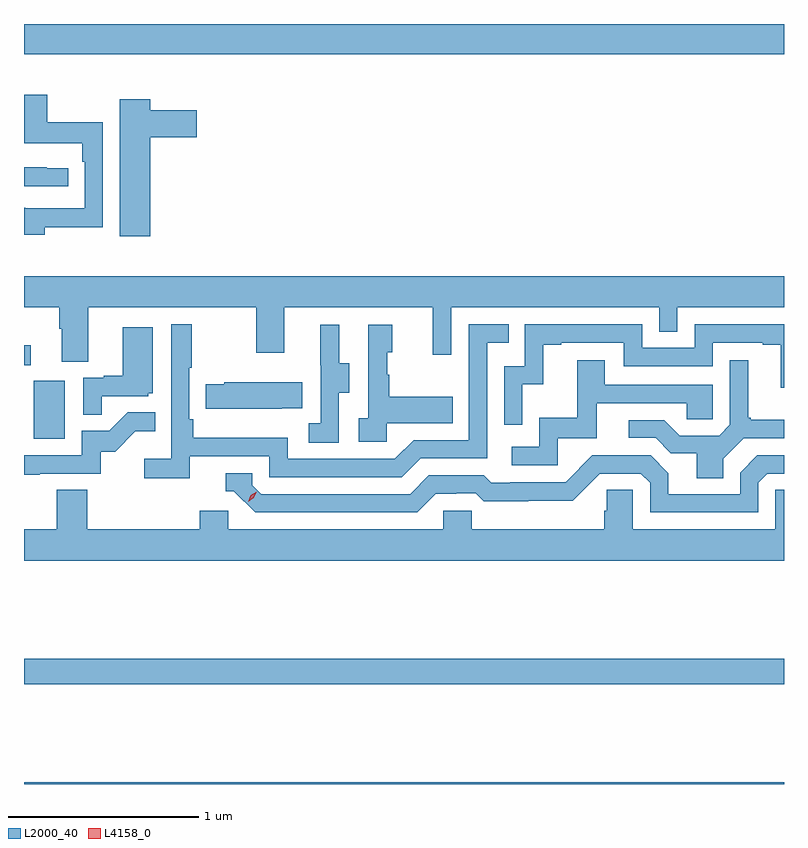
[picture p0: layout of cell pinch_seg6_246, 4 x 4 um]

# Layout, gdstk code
import gdstk
lib = gdstk.Library(unit=1e-6, precision=1e-09)
def R(c, l, rs):  # rectangles x0, y0, x1, y1
    for r in rs: c.add(gdstk.rectangle(r[:2], r[2:], *l))
def P(c, l, *ps):  # polygons
    for p in ps: c.add(gdstk.Polygon(p, *l))
L2000_40 = (2000, 40)
L4158_0 = (4158, 0)

pinch_seg6_246 = lib.new_cell('pinch_seg6_246')
R(pinch_seg6_246, L2000_40, [(1124.531,915.524,1128.531,915.532), (1124.531,916.048,1128.531,916.184), (1124.582,917.34,1124.746,917.647), (1124.531,917.727,1124.566,917.833), (1124.531,919.364,1128.531,919.524)])
P(pinch_seg6_246, L2000_40, [(1124.641,918.454),(1124.946,918.454),(1124.946,919.006),(1124.653,919.006),(1124.653,919.152),(1124.531,919.152),(1124.531,919.051),(1124.532,919.051),(1124.532,918.896),(1124.837,918.896),(1124.837,918.8),(1124.85,918.8),(1124.85,918.555),(1124.537,918.555),(1124.537,918.556),(1124.531,918.556),(1124.531,918.416),(1124.641,918.416)],
  [(1125.196,918.929),(1125.439,918.929),(1125.439,919.071),(1125.196,919.071),(1125.196,919.129),(1125.035,919.129),(1125.035,918.408),(1125.196,918.408)],
  [(1124.764,918.765),(1124.651,918.765),(1124.651,918.77),(1124.531,918.77),(1124.531,918.669),(1124.764,918.669)],
  [(1124.869,918.032),(1125.754,918.032),(1125.754,917.793),(1125.901,917.793),(1125.901,918.032),(1126.682,918.032),(1126.682,917.784),(1126.779,917.784),(1126.779,918.032),(1127.874,918.032),(1127.874,917.905),(1127.97,917.905),(1127.97,918.032),(1128.531,918.032),(1128.531,918.196),(1124.531,918.196),(1124.531,918.032),(1124.717,918.032),(1124.717,917.92),(1124.729,917.92),(1124.729,917.746),(1124.869,917.746)],
  [(1125.404,917.25),(1125.822,917.25),(1125.822,917.139),(1126.519,917.139),(1126.618,917.238),(1126.968,917.238),(1126.968,917.847),(1127.081,917.847),(1127.081,917.943),(1126.872,917.943),(1126.872,917.334),(1126.581,917.334),(1126.482,917.235),(1125.918,917.235),(1125.918,917.347),(1125.422,917.347),(1125.422,917.443),(1125.402,917.443),(1125.402,917.716),(1125.415,917.716),(1125.415,917.944),(1125.306,917.944),(1125.306,917.236),(1125.165,917.236),(1125.165,917.134),(1125.404,917.134)],
  [(1127.154,917.627),(1127.264,917.627),(1127.264,917.835),(1127.359,917.835),(1127.359,917.847),(1127.688,917.847),(1127.688,917.724),(1128.156,917.724),(1128.156,917.847),(1128.419,917.847),(1128.419,917.835),(1128.515,917.835),(1128.515,917.609),(1128.531,917.609),(1128.531,917.943),(1128.06,917.943),(1128.06,917.82),(1127.784,917.82),(1127.784,917.943),(1127.166,917.943),(1127.166,917.724),(1127.058,917.724),(1127.058,917.415),(1127.154,917.415)],
  [(1126.188,917.584),(1126.243,917.584),(1126.243,917.739),(1126.189,917.739),(1126.189,917.941),(1126.091,917.941),(1126.091,917.727),(1126.092,917.727),(1126.092,917.423),(1126.029,917.423),(1126.029,917.32),(1126.188,917.32)],
  [(1126.44,917.423),(1126.787,917.423),(1126.787,917.563),(1126.453,917.563),(1126.453,917.678),(1126.443,917.678),(1126.443,917.796),(1126.468,917.796),(1126.468,917.941),(1126.344,917.941),(1126.344,917.45),(1126.293,917.45),(1126.293,917.325),(1126.44,917.325)],
  [(1124.939,917.565),(1125.186,917.565),(1125.186,917.58),(1125.208,917.58),(1125.208,917.929),(1125.05,917.929),(1125.05,917.674),(1124.951,917.674),(1124.951,917.661),(1124.844,917.661),(1124.844,917.467),(1124.939,917.467)],
  [(1128.211,917.236),(1128.318,917.343),(1128.531,917.343),(1128.531,917.44),(1128.355,917.44),(1128.355,917.452),(1128.343,917.452),(1128.343,917.755),(1128.246,917.755),(1128.246,917.415),(1128.189,917.358),(1127.983,917.358),(1127.902,917.439),(1127.715,917.439),(1127.715,917.346),(1127.856,917.346),(1127.936,917.266),(1128.071,917.266),(1128.071,917.134),(1128.211,917.134)],
  [(1127.34,917.343),(1127.545,917.343),(1127.545,917.529),(1128.019,917.529),(1128.019,917.445),(1128.156,917.445),(1128.156,917.625),(1127.587,917.625),(1127.587,917.755),(1127.443,917.755),(1127.443,917.452),(1127.244,917.452),(1127.244,917.298),(1127.097,917.298),(1127.097,917.202),(1127.34,917.202)],
  [(1125.887,917.501),(1125.995,917.501),(1125.995,917.638),(1125.585,917.638),(1125.585,917.628),(1125.487,917.628),(1125.487,917.498),(1125.887,917.498)],
  [(1124.615,917.157),(1124.934,917.157),(1124.934,917.274),(1125.01,917.274),(1125.117,917.381),(1125.221,917.381),(1125.221,917.48),(1125.077,917.48),(1124.979,917.382),(1124.835,917.382),(1124.835,917.253),(1124.531,917.253),(1124.531,917.152),(1124.615,917.152)],
  [(1126.699,917.052),(1126.806,917.052),(1126.806,917.055),(1126.909,917.055),(1126.951,917.013),(1127.184,917.013),(1127.184,917.015),(1127.42,917.015),(1127.562,917.157),(1127.778,917.157),(1127.826,917.109),(1127.826,916.953),(1128.396,916.953),(1128.396,917.109),(1128.444,917.157),(1128.531,917.157),(1128.531,917.253),(1128.39,917.253),(1128.3,917.163),(1128.3,917.049),(1127.923,917.049),(1127.923,917.159),(1127.829,917.253),(1127.523,917.253),(1127.382,917.112),(1127.089,917.112),(1127.089,917.109),(1126.99,917.109),(1126.951,917.148),(1126.662,917.148),(1126.563,917.049),(1125.78,917.049),(1125.732,917.097),(1125.732,917.16),(1125.593,917.16),(1125.593,917.064),(1125.636,917.064),(1125.747,916.953),(1126.6,916.953)],
  [(1128.531,917.072),(1128.486,917.072),(1128.486,916.864),(1127.736,916.864),(1127.736,917.072),(1127.599,917.072),(1127.599,916.962),(1127.585,916.962),(1127.585,916.864),(1126.887,916.864),(1126.887,916.962),(1126.737,916.962),(1126.737,916.864),(1125.606,916.864),(1125.606,916.962),(1125.455,916.962),(1125.455,916.864),(1124.864,916.864),(1124.864,917.072),(1124.704,917.072),(1124.704,916.864),(1124.531,916.864),(1124.531,916.7),(1128.531,916.7)])
P(pinch_seg6_246, L4158_0, [(1125.71,917.01),(1125.71,917.01),(1125.725,917.043),(1125.756,917.063),(1125.756,917.063),(1125.756,917.063),(1125.741,917.03),(1125.71,917.01)])

lib.write_gds('pinch_seg6_246.gds')
